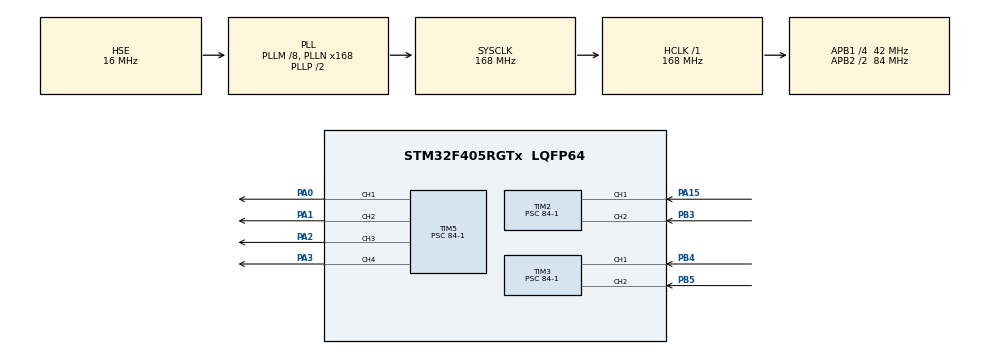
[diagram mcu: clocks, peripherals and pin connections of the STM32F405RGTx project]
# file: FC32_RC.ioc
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Mcu.Family=STM32F4
Mcu.Name=STM32F405RGTx
Mcu.Package=LQFP64
NVIC.PriorityGroup=NVIC_PRIORITYGROUP_4
NVIC.TIM2_IRQn=true\:0\:0\:false\:false\:true\:true\:true\:true
NVIC.TIM3_IRQn=true\:0\:0\:false\:false\:true\:true\:true\:true
PA0-WKUP.Signal=S_TIM5_CH1
PA1.Signal=S_TIM5_CH2
PA13.Mode=Serial_Wire
PA13.Signal=SYS_JTMS-SWDIO
PA14.Mode=Serial_Wire
PA14.Signal=SYS_JTCK-SWCLK
PA15.Signal=S_TIM2_CH1_ETR
PA2.Signal=S_TIM5_CH3
PA3.Signal=S_TIM5_CH4
PB3.Signal=S_TIM2_CH2
PB4.Signal=S_TIM3_CH1
PB5.Signal=S_TIM3_CH2
PH0-OSC_IN.Mode=HSE-External-Oscillator
PH0-OSC_IN.Signal=RCC_OSC_IN
PH1-OSC_OUT.Mode=HSE-External-Oscillator
PH1-OSC_OUT.Signal=RCC_OSC_OUT
ProjectManager.HeapSize=0x200
ProjectManager.StackSize=0x400
ProjectManager.TargetToolchain=STM32CubeIDE
RCC.48MHZClocksFreq_Value=84000000
RCC.AHBFreq_Value=168000000
RCC.APB1CLKDivider=RCC_HCLK_DIV4
RCC.APB1Freq_Value=42000000
RCC.APB1TimFreq_Value=84000000
RCC.APB2CLKDivider=RCC_HCLK_DIV2
RCC.APB2Freq_Value=84000000
RCC.APB2TimFreq_Value=168000000
RCC.CortexFreq_Value=168000000
RCC.HCLKFreq_Value=168000000
RCC.HSE_VALUE=16000000
RCC.HSI_VALUE=16000000
RCC.LSE_VALUE=32768
RCC.PLLM=8
RCC.PLLN=168
RCC.PLLSourceVirtual=RCC_PLLSOURCE_HSE
RCC.SYSCLKFreq_VALUE=168000000
RCC.SYSCLKSource=RCC_SYSCLKSOURCE_PLLCLK
RCC.VCOOutputFreq_Value=336000000
SH.S_TIM2_CH1_ETR.0=TIM2_CH1,Input_Capture1_from_TI1
SH.S_TIM2_CH2.0=TIM2_CH2,Input_Capture2_from_TI2
SH.S_TIM3_CH1.0=TIM3_CH1,Input_Capture1_from_TI1
SH.S_TIM3_CH2.0=TIM3_CH2,Input_Capture2_from_TI2
SH.S_TIM5_CH1.0=TIM5_CH1,PWM Generation1 CH1
SH.S_TIM5_CH2.0=TIM5_CH2,PWM Generation2 CH2
SH.S_TIM5_CH3.0=TIM5_CH3,PWM Generation3 CH3
SH.S_TIM5_CH4.0=TIM5_CH4,PWM Generation4 CH4
TIM2.Channel-Input_Capture1_from_TI1=TIM_CHANNEL_1
TIM2.Channel-Input_Capture2_from_TI2=TIM_CHANNEL_2
TIM2.ICPolarity_CH1=TIM_INPUTCHANNELPOLARITY_BOTHEDGE
TIM2.ICPolarity_CH2=TIM_INPUTCHANNELPOLARITY_BOTHEDGE
TIM2.Period=0xFFFFFFFF
TIM2.Prescaler=84-1
TIM3.Channel-Input_Capture1_from_TI1=TIM_CHANNEL_1
TIM3.Channel-Input_Capture2_from_TI2=TIM_CHANNEL_2
TIM3.ICPolarity_CH1=TIM_INPUTCHANNELPOLARITY_BOTHEDGE
TIM3.ICPolarity_CH2=TIM_INPUTCHANNELPOLARITY_BOTHEDGE
TIM3.Period=0xffff-1
TIM3.Prescaler=84-1
TIM5.Channel-PWM\ Generation1\ CH1=TIM_CHANNEL_1
TIM5.Channel-PWM\ Generation2\ CH2=TIM_CHANNEL_2
TIM5.Channel-PWM\ Generation3\ CH3=TIM_CHANNEL_3
TIM5.Channel-PWM\ Generation4\ CH4=TIM_CHANNEL_4
TIM5.Prescaler=84-1
VP_TIM2_VS_ClockSourceINT.Mode=Internal
VP_TIM3_VS_ClockSourceINT.Mode=Internal
VP_TIM5_VS_ClockSourceINT.Mode=Internal
board=custom

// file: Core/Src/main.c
/* USER CODE BEGIN Header */
/**
  ******************************************************************************
  * @file           : main.c
  * @brief          : Main program body
  ******************************************************************************
  * @attention
  *
  * Copyright (c) 2022 STMicroelectronics.
  * All rights reserved.
  *
  * This software is licensed under terms that can be found in the LICENSE file
  * in the root directory of this software component.
  * If no LICENSE file comes with this software, it is provided AS-IS.
  *
  ******************************************************************************
  */
/* USER CODE END Header */
#include "main.h"
#include "tim.h"
#include "gpio.h"

/* USER CODE BEGIN Includes */
#include "stdbool.h"
/* USER CODE END Includes */

/* USER CODE BEGIN PV */

bool Is_Ch1_First_Capture	=false;
bool Is_Ch2_First_Capture	=false;
bool Is_Ch3_First_Capture	=false;
bool Is_Ch4_First_Capture	=false;

uint32_t Ch1_IC_Val1		=0;
uint32_t Ch1_IC_Val2		=0;
uint32_t Ch2_IC_Val1		=0;
uint32_t Ch2_IC_Val2		=0;
uint32_t Ch3_IC_Val1		=0;
uint32_t Ch3_IC_Val2		=0;
uint32_t Ch4_IC_Val1		=0;
uint32_t Ch4_IC_Val2		=0;

uint32_t Channel_1			=0;
uint32_t Channel_2			=0;
uint32_t Channel_3			=0;
uint32_t Channel_4			=0;
/* USER CODE END PV */

void SystemClock_Config(void);
/* USER CODE BEGIN PFP */
void HAL_TIM_IC_CaptureCallback(TIM_HandleTypeDef *htim){

	if ( (htim-> Instance == TIM2) && (htim->Channel == HAL_TIM_ACTIVE_CHANNEL_1)){
		if ( Is_Ch1_First_Capture == false ){
			Ch1_IC_Val1 = HAL_TIM_ReadCapturedValue(&htim2, TIM_CHANNEL_1);
			Is_Ch1_First_Capture = true;
		}
		else{
			Ch1_IC_Val2 = HAL_TIM_ReadCapturedValue(&htim2, TIM_CHANNEL_1);
			if ( Ch1_IC_Val2 > Ch1_IC_Val1 ) Channel_1 = Ch1_IC_Val2 - Ch1_IC_Val1;
			else if ( Ch1_IC_Val1 > Ch1_IC_Val2 ) Channel_1 = ( 0xffffffff - Ch1_IC_Val1 )- Ch1_IC_Val2;
			__HAL_TIM_SET_COUNTER(htim,0);
			Is_Ch1_First_Capture = false;
		}
	}

	if ( (htim-> Instance == TIM2) && (htim->Channel == HAL_TIM_ACTIVE_CHANNEL_2)){
		if ( Is_Ch2_First_Capture == false ){
			Ch2_IC_Val1 = HAL_TIM_ReadCapturedValue(&htim2, TIM_CHANNEL_2);
			Is_Ch2_First_Capture = true;
		}
		else{
			Ch2_IC_Val2 = HAL_TIM_ReadCapturedValue(&htim2, TIM_CHANNEL_2);
			if ( Ch1_IC_Val2 > Ch1_IC_Val1 ) Channel_2 = Ch2_IC_Val2 - Ch2_IC_Val1;
			else if ( Ch2_IC_Val1 > Ch2_IC_Val2 ) Channel_2 = ( 0xffffffff - Ch2_IC_Val1 )- Ch2_IC_Val2;
			__HAL_TIM_SET_COUNTER(htim,0);
			Is_Ch2_First_Capture = false;
		}
	}

	if ( (htim-> Instance == TIM3) && (htim->Channel == HAL_TIM_ACTIVE_CHANNEL_1)){
		if ( Is_Ch3_First_Capture == false ){
			Ch3_IC_Val1 = HAL_TIM_ReadCapturedValue(&htim3, TIM_CHANNEL_1);
			Is_Ch3_First_Capture = true;
		}
		else{
			Ch3_IC_Val2 = HAL_TIM_ReadCapturedValue(&htim3, TIM_CHANNEL_1);
			if ( Ch3_IC_Val2 > Ch3_IC_Val1 ) Channel_3 = Ch3_IC_Val2 - Ch3_IC_Val1;
			else if ( Ch3_IC_Val1 > Ch3_IC_Val2 ) Channel_3 = ( 0xffff - Ch3_IC_Val1 )- Ch3_IC_Val2;
			__HAL_TIM_SET_COUNTER(htim,0);
			Is_Ch3_First_Capture = false;
		}
	}

	if ( (htim-> Instance == TIM3) && (htim->Channel == HAL_TIM_ACTIVE_CHANNEL_2)){
		if ( Is_Ch4_First_Capture == false ){
			Ch4_IC_Val1 = HAL_TIM_ReadCapturedValue(&htim3, TIM_CHANNEL_2);
			Is_Ch4_First_Capture = true;
		}
		else{
			Ch4_IC_Val2 = HAL_TIM_ReadCapturedValue(&htim3, TIM_CHANNEL_2);
			if ( Ch4_IC_Val2 > Ch4_IC_Val1 ) Channel_4 = Ch4_IC_Val2 - Ch4_IC_Val1;
			else if ( Ch4_IC_Val1 > Ch4_IC_Val2 ) Channel_4 = ( 0xffff - Ch4_IC_Val1 )- Ch4_IC_Val2;
			__HAL_TIM_SET_COUNTER(htim,0);
			Is_Ch4_First_Capture = false;
		}
	}

}
/* USER CODE END PFP */

int main(void)
{

  /* MCU Configuration--------------------------------------------------------*/

  /* Reset of all peripherals, Initializes the Flash interface and the Systick. */
  HAL_Init();

  /* Configure the system clock */
  SystemClock_Config();

  /* Initialize all configured peripherals */
  MX_GPIO_Init();
  MX_TIM2_Init();
  MX_TIM3_Init();
  MX_TIM5_Init();
  /* USER CODE BEGIN 2 */

  HAL_TIM_IC_Start_IT(&htim2, TIM_CHANNEL_1);
  HAL_TIM_IC_Start_IT(&htim2, TIM_CHANNEL_2);
  HAL_TIM_IC_Start_IT(&htim3, TIM_CHANNEL_1);
  HAL_TIM_IC_Start_IT(&htim3, TIM_CHANNEL_2);
  /* USER CODE END 2 */

  /* Infinite loop */
  while (1)
  {

  }
}

void SystemClock_Config(void)
{
  RCC_OscInitTypeDef RCC_OscInitStruct = {0};
  RCC_ClkInitTypeDef RCC_ClkInitStruct = {0};

  /** Configure the main internal regulator output voltage
  */
  __HAL_RCC_PWR_CLK_ENABLE();
  __HAL_PWR_VOLTAGESCALING_CONFIG(PWR_REGULATOR_VOLTAGE_SCALE1);

  /** Initializes the RCC Oscillators according to the specified parameters
  * in the RCC_OscInitTypeDef structure.
  */
  RCC_OscInitStruct.OscillatorType = RCC_OSCILLATORTYPE_HSE;
  RCC_OscInitStruct.HSEState = RCC_HSE_ON;
  RCC_OscInitStruct.PLL.PLLState = RCC_PLL_ON;
  RCC_OscInitStruct.PLL.PLLSource = RCC_PLLSOURCE_HSE;
  RCC_OscInitStruct.PLL.PLLM = 8;
  RCC_OscInitStruct.PLL.PLLN = 168;
  RCC_OscInitStruct.PLL.PLLP = RCC_PLLP_DIV2;
  RCC_OscInitStruct.PLL.PLLQ = 4;
  if (HAL_RCC_OscConfig(&RCC_OscInitStruct) != HAL_OK)
  {
    Error_Handler();
  }

  /** Initializes the CPU, AHB and APB buses clocks
  */
  RCC_ClkInitStruct.ClockType = RCC_CLOCKTYPE_HCLK|RCC_CLOCKTYPE_SYSCLK
                              |RCC_CLOCKTYPE_PCLK1|RCC_CLOCKTYPE_PCLK2;
  RCC_ClkInitStruct.SYSCLKSource = RCC_SYSCLKSOURCE_PLLCLK;
  RCC_ClkInitStruct.AHBCLKDivider = RCC_SYSCLK_DIV1;
  RCC_ClkInitStruct.APB1CLKDivider = RCC_HCLK_DIV4;
  RCC_ClkInitStruct.APB2CLKDivider = RCC_HCLK_DIV2;

  if (HAL_RCC_ClockConfig(&RCC_ClkInitStruct, FLASH_LATENCY_5) != HAL_OK)
  {
    Error_Handler();
  }
}

void Error_Handler(void)
{
  __disable_irq();
  while (1)
  {
  }
}
